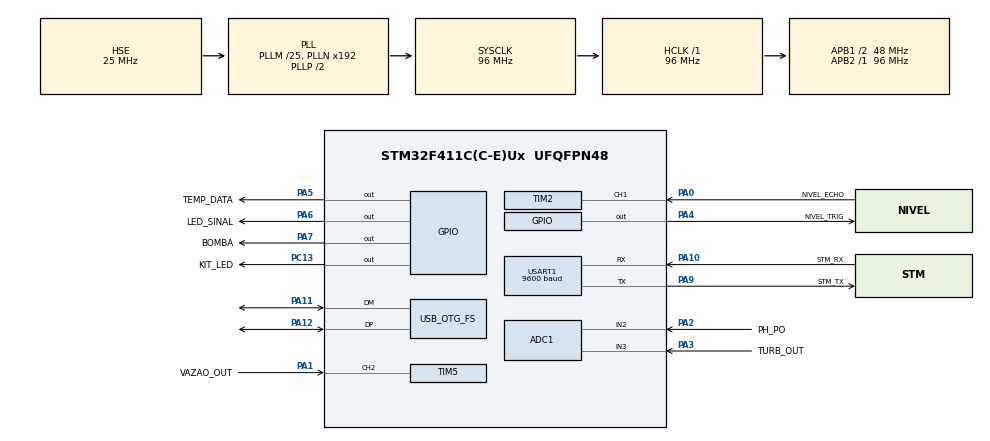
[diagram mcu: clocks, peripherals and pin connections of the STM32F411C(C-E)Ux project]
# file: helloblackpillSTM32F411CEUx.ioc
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ADC1.Channel-0\#ChannelRegularConversion=ADC_CHANNEL_2
ADC1.NbrOfConversionFlag=1
ADC1.Rank-0\#ChannelRegularConversion=1
ADC1.SamplingTime-0\#ChannelRegularConversion=ADC_SAMPLETIME_3CYCLES
ADC1.master=1
Dma.Request0=USART1_RX
Dma.Request1=USART1_TX
Dma.USART1_RX.0.Direction=DMA_PERIPH_TO_MEMORY
Dma.USART1_RX.0.FIFOMode=DMA_FIFOMODE_DISABLE
Dma.USART1_RX.0.Instance=DMA2_Stream2
Dma.USART1_RX.0.MemDataAlignment=DMA_MDATAALIGN_BYTE
Dma.USART1_RX.0.MemInc=DMA_MINC_ENABLE
Dma.USART1_RX.0.Mode=DMA_NORMAL
Dma.USART1_RX.0.PeriphDataAlignment=DMA_PDATAALIGN_BYTE
Dma.USART1_RX.0.PeriphInc=DMA_PINC_DISABLE
Dma.USART1_RX.0.Priority=DMA_PRIORITY_LOW
Dma.USART1_TX.1.Direction=DMA_MEMORY_TO_PERIPH
Dma.USART1_TX.1.FIFOMode=DMA_FIFOMODE_DISABLE
Dma.USART1_TX.1.Instance=DMA2_Stream7
Dma.USART1_TX.1.MemDataAlignment=DMA_MDATAALIGN_BYTE
Dma.USART1_TX.1.MemInc=DMA_MINC_ENABLE
Dma.USART1_TX.1.Mode=DMA_NORMAL
Dma.USART1_TX.1.PeriphDataAlignment=DMA_PDATAALIGN_BYTE
Dma.USART1_TX.1.PeriphInc=DMA_PINC_DISABLE
Dma.USART1_TX.1.Priority=DMA_PRIORITY_LOW
FREERTOS.BinarySemaphores01=ATCommandSemaphore,Static,ATCommandSemaphoreControlBlock;ATResponseSemaphore,Static,ATResponseSemaphoreControlBlock;UARTTXSemaphore,Static,UARTTXSemaphoreControlBlock;RadioStateSemaphore,Static,RadioStateSemaphoreControlBlock;LoRaTXSemaphore,Static,LoRaTXSemaphoreControlBlock
FREERTOS.Events01=ModemStatusFlags,Static,ModemStatusFlagsControlBlock
FREERTOS.Queues01=uartQueue,4,void*,0,Static,uartQueueBuffer,uartQueueControlBlock;ATQueue,4,void*,0,Static,ATQueueBuffer,ATQueueControlBlock;ModemSendQueue,4,void*,0,Static,ModemSendQueueBuffer,ModemSendQueueControlBlock;ACControladorQueue,8,AC_CONTROLADOR_OBJ_t,0,Static,ACControladorQueueBuffer,ACControladorQueueControlBlock
FREERTOS.Tasks01=defaultTask,9,128,StartDefaultTask,Default,NULL,Static,defaultTaskBuffer,defaultTaskControlBlock;ATParsingTask,39,512,ATParsingTaskCode,As external,NULL,Static,ATParsingTaskBuffer,ATParsingTaskControlBlock;ATHandlingTask,38,512,ATHandlingTaskCode,As external,NULL,Static,ATHandlingTaskBuffer,ATHandlingTaskControlBlock;UARTProcTask,47,512,UARTProcTaskCode,As external,NULL,Static,UARTProcTaskBuffer,UARTProcTaskControlBlock;ModemMngrTask,31,512,ModemManagerTaskCode,As external,NULL,Static,ModemMngrTaskBuffer,ModemMngrTaskControlBlock;AppSendTask,15,1024,AppSendTaskCode,As external,NULL,Static,SendTemperatureBuffer,SendTemperatureControlBlock;DutyCycleTask,24,128,DutyCycleTaskCode,As external,NULL,Static,DutyCycleTaskBuffer,DutyCycleTaskControlBlock
FREERTOS.Timers01=PeriodicSendTimer,PeriodicSendTimerCallback,osTimerPeriodic,As external,NULL,Static,PeriodicSendTimerControlBlock;ModemLedTimer,ModemLedCallback,osTimerPeriodic,As external,NULL,Static,ModemLedTimerControlBlock;DutyCycleTimer,DutyCycleTimerCallback,osTimerOnce,As external,NULL,Static,DutyCycleTimerControlBlock
FREERTOS.configENABLE_FPU=1
FREERTOS.configTOTAL_HEAP_SIZE=2048
FREERTOS.configUSE_TICKLESS_IDLE=1
Mcu.Family=STM32F4
Mcu.Name=STM32F411C(C-E)Ux
Mcu.Package=UFQFPN48
NVIC.DMA2_Stream2_IRQn=true\:5\:0\:false\:false\:true\:true\:false\:true\:true
NVIC.DMA2_Stream7_IRQn=true\:5\:0\:false\:false\:true\:true\:false\:true\:true
NVIC.OTG_FS_IRQn=true\:5\:0\:false\:false\:true\:true\:false\:true\:true
NVIC.PriorityGroup=NVIC_PRIORITYGROUP_4
NVIC.TIM1_TRG_COM_TIM11_IRQn=true\:5\:0\:false\:false\:true\:false\:false\:true\:true
NVIC.TIM2_IRQn=true\:5\:0\:false\:false\:true\:true\:true\:true\:true
NVIC.TIM3_IRQn=true\:5\:0\:false\:false\:true\:true\:true\:true\:true
NVIC.TimeBase=TIM1_TRG_COM_TIM11_IRQn
NVIC.TimeBaseIP=TIM11
NVIC.USART1_IRQn=true\:5\:0\:false\:false\:true\:true\:true\:true\:true
PA0-WKUP.GPIO_Label=NIVEL_ECHO
PA0-WKUP.Signal=S_TIM2_CH1_ETR
PA1.GPIO_Label=VAZAO_OUT
PA1.Signal=S_TIM5_CH2
PA10.GPIO_Label=STM_RX
PA10.Mode=Asynchronous
PA10.Signal=USART1_RX
PA11.Mode=Device_Only
PA11.Signal=USB_OTG_FS_DM
PA12.Mode=Device_Only
PA12.Signal=USB_OTG_FS_DP
PA13.Mode=Serial_Wire
PA13.Signal=SYS_JTMS-SWDIO
PA14.Mode=Serial_Wire
PA14.Signal=SYS_JTCK-SWCLK
PA2.GPIO_Label=PH_PO
PA2.Signal=ADCx_IN2
PA3.GPIO_Label=TURB_OUT
PA3.Signal=ADCx_IN3
PA4.GPIO_Label=NIVEL_TRIG
PA4.Signal=GPIO_Output
PA5.GPIO_Label=TEMP_DATA
PA5.GPIO_ModeDefaultOutputPP=GPIO_MODE_OUTPUT_OD
PA5.GPIO_PuPd=GPIO_NOPULL
PA5.Signal=GPIO_Output
PA6.GPIO_Label=LED_SINAL
PA6.PinState=GPIO_PIN_SET
PA6.Signal=GPIO_Output
PA7.GPIO_Label=BOMBA
PA7.Signal=GPIO_Output
PA9.GPIO_Label=STM_TX
PA9.Mode=Asynchronous
PA9.Signal=USART1_TX
PC13-ANTI_TAMP.GPIO_Label=KIT_LED
PC13-ANTI_TAMP.Signal=GPIO_Output
PC14-OSC32_IN.Mode=LSE-External-Oscillator
PC14-OSC32_IN.Signal=RCC_OSC32_IN
PC15-OSC32_OUT.Mode=LSE-External-Oscillator
PC15-OSC32_OUT.Signal=RCC_OSC32_OUT
PH0\ -\ OSC_IN.Mode=HSE-External-Oscillator
PH0\ -\ OSC_IN.Signal=RCC_OSC_IN
PH1\ -\ OSC_OUT.Mode=HSE-External-Oscillator
PH1\ -\ OSC_OUT.Signal=RCC_OSC_OUT
ProjectManager.HeapSize=0x200
ProjectManager.StackSize=0x400
ProjectManager.TargetToolchain=Makefile
RCC.48MHZClocksFreq_Value=48000000
RCC.AHBFreq_Value=96000000
RCC.APB1CLKDivider=RCC_HCLK_DIV2
RCC.APB1Freq_Value=48000000
RCC.APB1TimFreq_Value=96000000
RCC.APB2Freq_Value=96000000
RCC.APB2TimFreq_Value=96000000
RCC.CortexFreq_Value=96000000
RCC.HCLKFreq_Value=96000000
RCC.HSE_VALUE=25000000
RCC.HSI_VALUE=16000000
RCC.PLLM=25
RCC.SYSCLKFreq_VALUE=96000000
RCC.SYSCLKSource=RCC_SYSCLKSOURCE_PLLCLK
RCC.VCOOutputFreq_Value=192000000
SH.ADCx_IN2.0=ADC1_IN2,IN2
SH.ADCx_IN3.0=ADC1_IN3,IN3
SH.S_TIM2_CH1_ETR.0=TIM2_CH1,Input_Capture1_from_TI1
SH.S_TIM5_CH2.0=TIM5_CH2,TriggerSource_TI2FP2
TIM2.Channel-Input_Capture1_from_TI1=TIM_CHANNEL_1
TIM2.Channel-Input_Capture2_from_TI1_63=TIM_CHANNEL_2
TIM2.ICPolarity_CH2=TIM_INPUTCHANNELPOLARITY_FALLING
TIM2.Period=65535
TIM2.Prescaler=96-1
TIM3.Period=65535
TIM3.Prescaler=95
TIM4.Prescaler=9600-1
USART1.BaudRate=9600
USART1.VirtualMode=VM_ASYNC
USB_DEVICE.CLASS_NAME_FS=CDC
USB_DEVICE.VirtualMode=Cdc
USB_DEVICE.VirtualModeFS=Cdc_FS
USB_OTG_FS.VirtualMode=Device_Only
VP_FREERTOS_VS_CMSIS_V2.Mode=CMSIS_V2
VP_SYS_VS_tim11.Mode=TIM11
VP_TIM2_VS_ClockSourceINT.Mode=Internal
VP_TIM2_VS_indirect_ch1.Mode=Input_Capture2_from_TI1_63
VP_TIM3_VS_ClockSourceINT.Mode=Internal
VP_TIM4_VS_ClockSourceINT.Mode=Internal
VP_TIM5_VS_ControllerModeClock.Mode=Clock Mode
VP_USB_DEVICE_VS_USB_DEVICE_CDC_FS.Mode=CDC_FS
board=custom

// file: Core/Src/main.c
/* USER CODE BEGIN Header */
/**
  ******************************************************************************
  * @file           : main.c
  * @brief          : Main program body
  ******************************************************************************
  * @attention
  *
  * Copyright (c) 2022 STMicroelectronics.
  * All rights reserved.
  *
  * This software is licensed under terms that can be found in the LICENSE file
  * in the root directory of this software component.
  * If no LICENSE file comes with this software, it is provided AS-IS.
  *
  ******************************************************************************
  */
/* USER CODE END Header */
#include "main.h"
#include "cmsis_os.h"
#include "adc.h"
#include "dma.h"
#include "tim.h"
#include "usart.h"
#include "usb_device.h"
#include "gpio.h"

/* USER CODE BEGIN PV */
volatile float vector[255];
extern UART_HandleTypeDef huart1;
extern DMA_HandleTypeDef hdma_usart1_rx;
extern DMA_HandleTypeDef hdma_usart1_tx;
/* USER CODE END PV */

void SystemClock_Config(void);
void MX_FREERTOS_Init(void);
/* USER CODE BEGIN PFP */
void CONFIGURE_TIMER_FOR_RUN_TIME_STATS()
{
  HAL_TIM_Base_Start(&htim4); /* Define this to initialize your timer/counter */
}

uint32_t GET_RUN_TIME_COUNTER_VALUE()
{
  return __HAL_TIM_GET_COUNTER(&htim4); /* Define this to sample the timer/counter */
}
/* USER CODE END PFP */

/* USER CODE BEGIN 0 */
const volatile int uxTopUsedPriority = configMAX_PRIORITIES - 1; //this declaration enables thread awareness for FreeRTOS using OpenOCD

// Paste this code to Core/Inc/FreeRTOSConfig.h to enable kernel statistics (will be overwritten by STMCubeMX everytime code is generated)
// #define portCONFIGURE_TIMER_FOR_RUN_TIME_STATS() CONFIGURE_TIMER_FOR_RUN_TIME_STATS()/* Define this to initialize your timer/counter */
// #define portGET_RUN_TIME_COUNTER_VALUE() GET_RUN_TIME_COUNTER_VALUE()        /* Define this to sample the timer/counter */
// #define configGENERATE_RUN_TIME_STATS (1)
// #define configRECORD_STACK_HIGH_ADDRESS (1)

/* USER CODE END 0 */

int main(void)
{

  /* USER CODE BEGIN 1 */
  uint32_t i;
  (void)uxTopUsedPriority; //this declaration enables thread awareness for FreeRTOS using OpenOCD
  /* USER CODE END 1 */

  /* MCU Configuration--------------------------------------------------------*/

  /* Reset of all peripherals, Initializes the Flash interface and the Systick. */
  HAL_Init();

  /* Configure the system clock */
  SystemClock_Config();

  /* USER CODE BEGIN SysInit */
  CoreDebug->DEMCR |= CoreDebug_DEMCR_TRCENA_Msk;
  DWT->CYCCNT = 0;
  DWT->CTRL |= DWT_CTRL_CYCCNTENA_Msk;
  /* USER CODE END SysInit */

  /* Initialize all configured peripherals */
  MX_GPIO_Init();
  MX_DMA_Init();
  MX_USART1_UART_Init();
  MX_TIM2_Init();
  MX_TIM3_Init();
  MX_ADC1_Init();
  MX_TIM5_Init();
  MX_TIM4_Init();

  /* Init scheduler */
  osKernelInitialize();

  /* Call init function for freertos objects (in cmsis_os2.c) */
  MX_FREERTOS_Init();

  /* Start scheduler */
  osKernelStart();

  /* We should never get here as control is now taken by the scheduler */

  /* Infinite loop */
  /* USER CODE BEGIN WHILE */
  while (1)
  {
    for (i = 0; i < 8; i++)
    {
      HAL_GPIO_WritePin(GPIOC, GPIO_PIN_13, 0);
      HAL_Delay(25);
      HAL_GPIO_WritePin(GPIOC, GPIO_PIN_13, 1);
      HAL_Delay(50);
    }
    HAL_Delay(800);

    /* USER CODE END WHILE */

  }
}

void SystemClock_Config(void)
{
  RCC_OscInitTypeDef RCC_OscInitStruct = {0};
  RCC_ClkInitTypeDef RCC_ClkInitStruct = {0};

  /** Configure the main internal regulator output voltage
  */
  __HAL_RCC_PWR_CLK_ENABLE();
  __HAL_PWR_VOLTAGESCALING_CONFIG(PWR_REGULATOR_VOLTAGE_SCALE1);

  /** Initializes the RCC Oscillators according to the specified parameters
  * in the RCC_OscInitTypeDef structure.
  */
  RCC_OscInitStruct.OscillatorType = RCC_OSCILLATORTYPE_HSE;
  RCC_OscInitStruct.HSEState = RCC_HSE_ON;
  RCC_OscInitStruct.PLL.PLLState = RCC_PLL_ON;
  RCC_OscInitStruct.PLL.PLLSource = RCC_PLLSOURCE_HSE;
  RCC_OscInitStruct.PLL.PLLM = 25;
  RCC_OscInitStruct.PLL.PLLN = 192;
  RCC_OscInitStruct.PLL.PLLP = RCC_PLLP_DIV2;
  RCC_OscInitStruct.PLL.PLLQ = 4;
  if (HAL_RCC_OscConfig(&RCC_OscInitStruct) != HAL_OK)
  {
    Error_Handler();
  }

  /** Initializes the CPU, AHB and APB buses clocks
  */
  RCC_ClkInitStruct.ClockType = RCC_CLOCKTYPE_HCLK|RCC_CLOCKTYPE_SYSCLK
                              |RCC_CLOCKTYPE_PCLK1|RCC_CLOCKTYPE_PCLK2;
  RCC_ClkInitStruct.SYSCLKSource = RCC_SYSCLKSOURCE_PLLCLK;
  RCC_ClkInitStruct.AHBCLKDivider = RCC_SYSCLK_DIV1;
  RCC_ClkInitStruct.APB1CLKDivider = RCC_HCLK_DIV2;
  RCC_ClkInitStruct.APB2CLKDivider = RCC_HCLK_DIV1;

  if (HAL_RCC_ClockConfig(&RCC_ClkInitStruct, FLASH_LATENCY_3) != HAL_OK)
  {
    Error_Handler();
  }
}

/* USER CODE BEGIN 4 */
void ADC1_Set_Channel(uint32_t channel)
{
  ADC_ChannelConfTypeDef sConfig = {0};

  sConfig.Channel = channel;
  sConfig.Rank = 1;
  sConfig.SamplingTime = ADC_SAMPLETIME_3CYCLES;
  if (HAL_ADC_ConfigChannel(&hadc1, &sConfig) != HAL_OK)
  {
    Error_Handler();
  }
}
/* USER CODE END 4 */

void HAL_TIM_PeriodElapsedCallback(TIM_HandleTypeDef *htim)
{
  if (htim->Instance == TIM11)
  {
    HAL_IncTick();
  }
}

void Error_Handler(void)
{
  __disable_irq();
  while (1)
  {
  }
}
